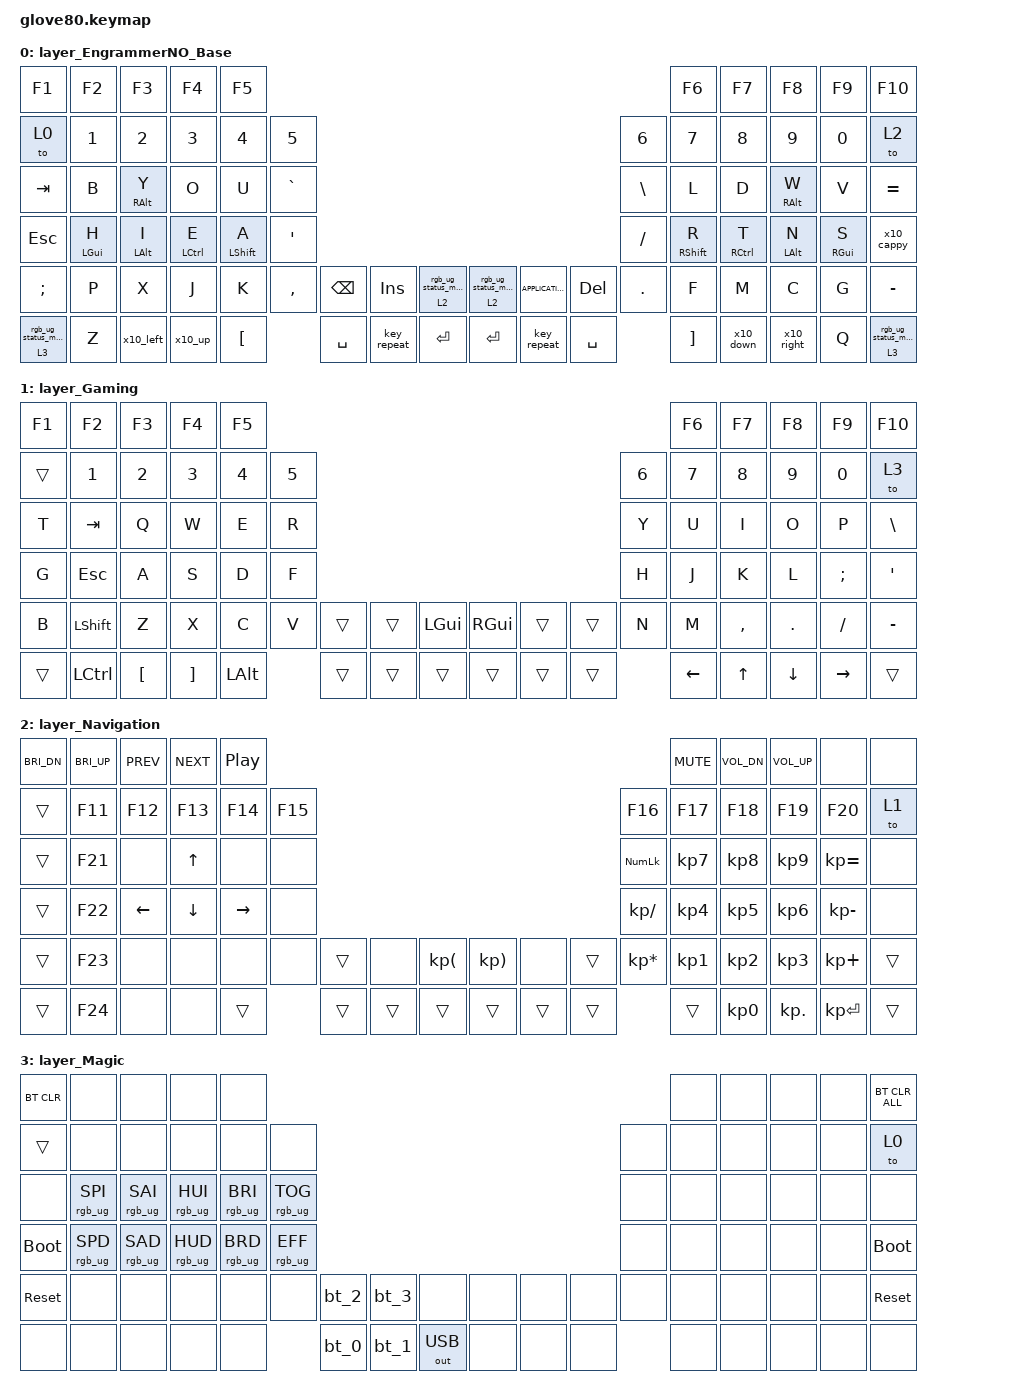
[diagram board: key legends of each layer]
/*
 * Copyright (c) 2020 The ZMK Contributors
 * Copyright (c) 2023 Innaworks Development Limited, trading as MoErgo
 *
 * SPDX-License-Identifier: MIT
 */
/* THIS FILE WAS GENERATED BY GLOVE80 LAYOUT EDITOR
 *
 * This file was generated automatically. You may or may not want to
 * edit it directly.
 */
/* Include all behaviour includes needed */

#include <behaviors.dtsi>
#include <dt-bindings/zmk/bt.h>
#include <dt-bindings/zmk/keys.h>
#include <dt-bindings/zmk/outputs.h>
#include <dt-bindings/zmk/rgb.h>

/* To deal with the situation where there is no Lower layer, to keep &lower happy */

#ifndef LAYER_Lower

#define LAYER_Lower 0

#endif

/* Automatically generated layer name #define */

#define LAYER_EngrammerNO_Base 0
#define LAYER_Gaming 1
#define LAYER_Lower 2
#define LAYER_Navigation 3
#define LAYER_Magic 4

/* Custom Device-tree */

/ {
    /* Glove80 system behavior & macros */

    behaviors {
        // For the "layer" key, it'd nice to be able to use it as either a shift or a toggle.
        // Configure it as a tap dance, so the first tap (or hold) is a &mo and the second tap is a &to

        lower: lower {
            compatible = "zmk,behavior-tap-dance";
            label = "LAYER_TAP_DANCE";
            #binding-cells = <0>;
            tapping-term-ms = <200>;
            bindings = <&mo 2>, <&to 2>;
        };
    };
};

/ {
    macros {
        rgb_ug_status_macro: rgb_ug_status_macro {
            label = "RGB_UG_STATUS";
            compatible = "zmk,behavior-macro";
            #binding-cells = <0>;
            bindings = <&rgb_ug RGB_STATUS>;
        };
    };
};

/ {
    #ifdef BT_DISC_CMD

    behaviors {
        bt_0: bt_0 {
            compatible = "zmk,behavior-tap-dance";
            label = "BT_0";
            #binding-cells = <0>;
            tapping-term-ms = <200>;
            bindings = <&bt_select_0>, <&bt BT_DISC 0>;
        };

        bt_1: bt_1 {
            compatible = "zmk,behavior-tap-dance";
            label = "BT_1";
            #binding-cells = <0>;
            tapping-term-ms = <200>;
            bindings = <&bt_select_1>, <&bt BT_DISC 1>;
        };

        bt_2: bt_2 {
            compatible = "zmk,behavior-tap-dance";
            label = "BT_2";
            #binding-cells = <0>;
            tapping-term-ms = <200>;
            bindings = <&bt_select_2>, <&bt BT_DISC 2>;
        };

        bt_3: bt_3 {
            compatible = "zmk,behavior-tap-dance";
            label = "BT_3";
            #binding-cells = <0>;
            tapping-term-ms = <200>;
            bindings = <&bt_select_3>, <&bt BT_DISC 3>;
        };
    };

    macros {
        bt_select_0: bt_select_0 {
            label = "BT_SELECT_0";
            compatible = "zmk,behavior-macro";
            #binding-cells = <0>;
            bindings = <&out OUT_BLE &bt BT_SEL 0>;
        };

        bt_select_1: bt_select_1 {
            label = "BT_SELECT_1";
            compatible = "zmk,behavior-macro";
            #binding-cells = <0>;
            bindings = <&out OUT_BLE &bt BT_SEL 1>;
        };

        bt_select_2: bt_select_2 {
            label = "BT_SELECT_2";
            compatible = "zmk,behavior-macro";
            #binding-cells = <0>;
            bindings = <&out OUT_BLE &bt BT_SEL 2>;
        };

        bt_select_3: bt_select_3 {
            label = "BT_SELECT_3";
            compatible = "zmk,behavior-macro";
            #binding-cells = <0>;
            bindings = <&out OUT_BLE &bt BT_SEL 3>;
        };
    };

    #else

    macros {
        bt_0: bt_0 {
            label = "BT_0";
            compatible = "zmk,behavior-macro";
            #binding-cells = <0>;
            bindings = <&out OUT_BLE &bt BT_SEL 0>;
        };

        bt_1: bt_1 {
            label = "BT_1";
            compatible = "zmk,behavior-macro";
            #binding-cells = <0>;
            bindings = <&out OUT_BLE &bt BT_SEL 1>;
        };

        bt_2: bt_2 {
            label = "BT_2";
            compatible = "zmk,behavior-macro";
            #binding-cells = <0>;
            bindings = <&out OUT_BLE &bt BT_SEL 2>;
        };

        bt_3: bt_3 {
            label = "BT_3";
            compatible = "zmk,behavior-macro";
            #binding-cells = <0>;
            bindings = <&out OUT_BLE &bt BT_SEL 3>;
        };
    };

    #endif
};

/ {
    behaviors {
        magic: magic {
            compatible = "zmk,behavior-hold-tap";
            label = "MAGIC_HOLD_TAP";
            #binding-cells = <2>;
            flavor = "tap-preferred";
            tapping-term-ms = <200>;
            bindings = <&mo>, <&rgb_ug_status_macro>;
        };
    };
};

/* #define for key positions */

#define POS_LH_T1 52
#define POS_LH_T2 53
#define POS_LH_T3 54
#define POS_LH_T4 69
#define POS_LH_T5 70
#define POS_LH_T6 71
#define POS_LH_C1R2 15
#define POS_LH_C1R3 27
#define POS_LH_C1R4 39
#define POS_LH_C1R5 51
#define POS_LH_C2R1 4
#define POS_LH_C2R2 14
#define POS_LH_C2R3 26
#define POS_LH_C2R4 38
#define POS_LH_C2R5 50
#define POS_LH_C2R6 68
#define POS_LH_C3R1 3
#define POS_LH_C3R2 13
#define POS_LH_C3R3 25
#define POS_LH_C3R4 37
#define POS_LH_C3R5 49
#define POS_LH_C3R6 67
#define POS_LH_C4R1 2
#define POS_LH_C4R2 12
#define POS_LH_C4R3 24
#define POS_LH_C4R4 36
#define POS_LH_C4R5 48
#define POS_LH_C4R6 66
#define POS_LH_C5R1 1
#define POS_LH_C5R2 11
#define POS_LH_C5R3 23
#define POS_LH_C5R4 35
#define POS_LH_C5R5 47
#define POS_LH_C5R6 65
#define POS_LH_C6R1 0
#define POS_LH_C6R2 10
#define POS_LH_C6R3 22
#define POS_LH_C6R4 34
#define POS_LH_C6R5 46
#define POS_LH_C6R6 64
#define POS_RH_T1 57
#define POS_RH_T2 56
#define POS_RH_T3 55
#define POS_RH_T4 74
#define POS_RH_T5 73
#define POS_RH_T6 72
#define POS_RH_C1R2 16
#define POS_RH_C1R3 28
#define POS_RH_C1R4 40
#define POS_RH_C1R5 58
#define POS_RH_C2R1 5
#define POS_RH_C2R2 17
#define POS_RH_C2R3 29
#define POS_RH_C2R4 41
#define POS_RH_C2R5 59
#define POS_RH_C2R6 75
#define POS_RH_C3R1 6
#define POS_RH_C3R2 18
#define POS_RH_C3R3 30
#define POS_RH_C3R4 42
#define POS_RH_C3R5 60
#define POS_RH_C3R6 76
#define POS_RH_C4R1 7
#define POS_RH_C4R2 19
#define POS_RH_C4R3 31
#define POS_RH_C4R4 43
#define POS_RH_C4R5 61
#define POS_RH_C4R6 77
#define POS_RH_C5R1 8
#define POS_RH_C5R2 20
#define POS_RH_C5R3 32
#define POS_RH_C5R4 44
#define POS_RH_C5R5 62
#define POS_RH_C5R6 78
#define POS_RH_C6R1 9
#define POS_RH_C6R2 21
#define POS_RH_C6R3 33
#define POS_RH_C6R4 45
#define POS_RH_C6R5 63
#define POS_RH_C6R6 79

/* Custom Defined Behaviors */

/ {
    //////////////////////////////////////////////////////////////////////
    // NOTE: Use the `#define` settings below to customize this keymap! //
    //////////////////////////////////////////////////////////////////////
    // IMPORTANT: You need to set Firmware Version to "pr19.zephyr-3-2" //
    // under Settings > Advanced Settings in the Glove80 Layout Editor  //
    // if you want to use the `hold-trigger-on-release` feature in ZMK. //
    //////////////////////////////////////////////////////////////////////
    // CAUTION: PR19 firmware is not production quality; it has issues: //
    // https://discord.com/channels/877392805654306816/1137025078979203142
    //////////////////////////////////////////////////////////////////////
    //
    // Sunaku's Keymap v23 featuring Engrammer layout and legendary Miryoku
    // - https://github.com/sunaku/glove80-keymaps
    // - https://sunaku.github.io/moergo-glove80-keyboard.html
    // - https://sunaku.github.io/engrammer-keyboard-layout.html
    // - https://discord.com/channels/877392805654306816/1111469812850380831
    //
    //////////////////////////////////////////////////////////////////////

    behaviors {
        // Miryoku layers and home row mods (ported from my QMK endgame)
        // - https://sunaku.github.io/home-row-mods.html#porting-to-zmk
        // - https://github.com/urob/zmk-config#timeless-homerow-mods
        //----------------------------------------------------------------
        //               homey fingers (pinky, ring, middle)
        //----------------------------------------------------------------
        //
        // HOMEY_HOLDING_TYPE defines the flavor of ZMK hold-tap behavior to use
        // for the pinky, ring, and middle fingers (which are assigned to Super,
        // Alt, and Ctrl respectively in the Miryoku system) on home row keys.
        //

        #ifndef HOMEY_HOLDING_TYPE
        #define HOMEY_HOLDING_TYPE "tap-preferred"
        #endif

        // HOMEY_HOLDING_TIME defines how long you need to hold (milliseconds)
        // home row mod keys in order to send their modifiers to the computer
        // (i.e. "register" them) for mod-click mouse usage (e.g. Ctrl-Click).
        //
        #ifndef HOMEY_HOLDING_TIME
        #define HOMEY_HOLDING_TIME 270 // TAPPING_TERM + ALLOW_CROSSOVER_AFTER
        #endif

        // HOMEY_STREAK_DECAY defines how long you need to wait (milliseconds)
        // after typing before you can use home row mods again.  It prevents
        // unintended activation of home row mods when you're actively typing.
        //
        #ifndef HOMEY_STREAK_DECAY
        #define HOMEY_STREAK_DECAY 170 // global-quick-tap-ms
        #endif

        // HOMEY_REPEAT_DECAY defines how much time you have left (milliseconds)
        // after tapping a key to hold it again in order to make it auto-repeat.
        //
        #ifndef HOMEY_REPEAT_DECAY
        #define HOMEY_REPEAT_DECAY 300 // "tap then hold" for key auto-repeat
        #endif

        //----------------------------------------------------------------
        //                          index fingers
        //----------------------------------------------------------------
        //
        // SHIFT_HOLDING_TYPE defines the flavor of ZMK hold-tap behavior to use
        // for index fingers (which Miryoku assigns to Shift) on home row keys.
        //
        // NOTE: The "tap-preferred" flavor of ZMK hold-tap for index finger keys
        // allows faster activation of the Shift modifier (without having to wait
        // for the modified key to be released as the "balanced" flavor requires).
        // Typing streaks and the `hold-trigger-on-release` setting are disabled
        // for the index fingers so as not to hinder their speed and dexterity.
        //
        #ifndef SHIFT_HOLDING_TYPE
        #define SHIFT_HOLDING_TYPE "tap-preferred"
        #endif

        // SHIFT_HOLDING_TIME defines how long you need to hold (milliseconds)
        // index finger keys in order to send their modifiers to the computer
        // (i.e. "register" them) for mod-click mouse usage (e.g. Shift-Click).
        //
        // CAUTION: You'll need to perform inward rolls from pinky->ring->middle
        // fingers toward the index fingers when activating multiple modifiers
        // because `hold-trigger-on-release` is disabled for the index fingers.
        // Otherwise, you may be surprised that the index fingers' modifier is
        // sent immediately without the rest of your multi-mod chord when you
        // perform outward rolls from your index fingers toward your pinkies.
        //
        #ifndef SHIFT_HOLDING_TIME
        #define SHIFT_HOLDING_TIME 170
        #endif

        // SHIFT_STREAK_DECAY defines how long you need to wait (milliseconds)
        // after typing before you can use home row mods again.  It prevents
        // unintended activation of home row mods when you're actively typing.
        //
        #ifndef SHIFT_STREAK_DECAY
        #define SHIFT_STREAK_DECAY 70 // global-quick-tap-ms
        #endif

        // SHIFT_REPEAT_DECAY defines how much time you have left (milliseconds)
        // after tapping a key to hold it again in order to make it auto-repeat.
        //
        #ifndef SHIFT_REPEAT_DECAY
        #define SHIFT_REPEAT_DECAY 300 // "tap then hold" for key auto-repeat
        #endif

        //----------------------------------------------------------------
        //                              thumbs
        //----------------------------------------------------------------
        //
        // THUMB_HOLDING_TYPE defines the flavor of ZMK hold-tap behavior to use
        // for the thumbs (which are assigned to 6 layers in the Miryoku system).
        //
        // NOTE: The "balanced" flavor of ZMK hold-tap provides instant modifier
        // activation for the symbol layer (if the tapped symbol key is released
        // while the thumb layer key is still held down) for quicker programming.
        //
        #ifndef THUMB_HOLDING_TYPE
        #define THUMB_HOLDING_TYPE "balanced"
        #endif

        // THUMB_HOLDING_TIME defines how long you need to hold (milliseconds)
        // a thumb key to activate a layer.  Shorter holds are treated as taps.
        //
        #ifndef THUMB_HOLDING_TIME
        #define THUMB_HOLDING_TIME 200
        #endif


        // THUMB_REPEAT_DECAY defines how much time you have left (milliseconds)
        // after tapping a key to hold it again in order to make it auto-repeat.
        //
        #ifndef THUMB_REPEAT_DECAY
        #define THUMB_REPEAT_DECAY 300 // "tap then hold" for key auto-repeat
        #endif

        // SPACE_HOLDING_TIME defines how long you need to hold (milliseconds)
        // the space thumb key to activate.  Shorter holds are treated as taps.
        //
        #ifndef SPACE_HOLDING_TIME
        #define SPACE_HOLDING_TIME 170
        #endif

        // SPACE_REPEAT_DECAY defines how much time you have left (milliseconds)
        // after tapping a key to hold it again in order to make it auto-repeat.
        //
        #ifndef SPACE_REPEAT_DECAY
        #define SPACE_REPEAT_DECAY 200 // "tap then hold" for key auto-repeat
        #endif

        // Glove80 key positions index for positional hold-tap
        // - https://discord.com/channels/877392805654306816/937645688244826154/1066713913351221248
        // - https://media.discordapp.net/attachments/937645688244826154/1066713913133121556/image.png
        //
        // |------------------------|------------------------|
        // | LEFT_HAND_KEYS         |        RIGHT_HAND_KEYS |
        // |                        |                        |
        // |  0  1  2  3  4         |          5  6  7  8  9 |
        // | 10 11 12 13 14 15      |      16 17 18 19 20 21 |
        // | 22 23 24 25 26 27      |      28 29 30 31 32 33 |
        // | 34 35 36 37 38 39      |      40 41 42 43 44 45 |
        // | 46 47 48 49 50 51      |      58 59 60 61 62 63 |
        // | 64 65 66 67 68         |         75 76 77 78 79 |
        // |                69 52   |   57 74                |
        // |                 70 53  |  56 73                 |
        // |                  71 54 | 55 72                  |
        // |------------------------|------------------------|
        //
        #ifndef LEFT_HAND_KEYS
        #define LEFT_HAND_KEYS      \
              0  1  2  3  4         \
             10 11 12 13 14 15      \
             22 23 24 25 26 27      \
             34 35 36 37 38 39      \
             46 47 48 49 50 51      \
             64 65 66 67 68
        #endif
        #ifndef RIGHT_HAND_KEYS
        #define RIGHT_HAND_KEYS     \
                                               5  6  7  8  9 \
                                           16 17 18 19 20 21 \
                                           28 29 30 31 32 33 \
                                           40 41 42 43 44 45 \
                                           58 59 60 61 62 63 \
                                              75 76 77 78 79
        #endif
        #ifndef THUMB_KEYS
        #define THUMB_KEYS          \
                            69 52       57 74                \
                             70 53     56 73                 \
                              71 54   55 72
        #endif

        //----------------------------------------------------------------
        //                              thumbs
        //----------------------------------------------------------------
        // Home row mod-tap keys for all except index fingers
        //

        homey_left: miryoku_home_row_mods_left_hand {
            compatible = "zmk,behavior-hold-tap";
            label = "HOME_ROW_MODS_LEFT_HAND";
            flavor =
            HOMEY_HOLDING_TYPE;
            hold-trigger-key-positions = <RIGHT_HAND_KEYS THUMB_KEYS>;
            hold-trigger-on-release; // wait for other home row mods
            tapping-term-ms = <HOMEY_HOLDING_TIME>;
            quick-tap-ms = <HOMEY_REPEAT_DECAY>;
            require-prior-idle-ms = <HOMEY_STREAK_DECAY>;
            #binding-cells = <2>;
            bindings = <&kp>, <&kp>;
        };

        homey_right: miryoku_home_row_mods_right_hand {
            compatible = "zmk,behavior-hold-tap";
            label = "HOME_ROW_MODS_RIGHT_HAND";
            flavor =
            HOMEY_HOLDING_TYPE;
            hold-trigger-key-positions = <LEFT_HAND_KEYS THUMB_KEYS>;
            hold-trigger-on-release; // wait for other home row mods
            tapping-term-ms = <HOMEY_HOLDING_TIME>;
            quick-tap-ms = <HOMEY_REPEAT_DECAY>;
            require-prior-idle-ms = <HOMEY_STREAK_DECAY>;
            #binding-cells = <2>;
            bindings = <&kp>, <&kp>;
        };

        // Special home row mod-tap keys for the index fingers
        //

        shift_left: miryoku_home_row_mods_left_shift_shift {
            compatible = "zmk,behavior-hold-tap";
            label = "HOME_ROW_MODS_LEFT_SHIFT_SHIFT";
            flavor =
            SHIFT_HOLDING_TYPE;
            hold-trigger-key-positions = <RIGHT_HAND_KEYS THUMB_KEYS>;

            //hold-trigger-on-release; // don't wait for other mods

            tapping-term-ms = <SHIFT_HOLDING_TIME>;
            quick-tap-ms = <SHIFT_REPEAT_DECAY>;
            require-prior-idle-ms = <SHIFT_STREAK_DECAY>;
            #binding-cells = <2>;
            bindings = <&kp>, <&kp>;
        };

        shift_right: miryoku_home_row_mods_right_shift_shift {
            compatible = "zmk,behavior-hold-tap";
            label = "HOME_ROW_MODS_RIGHT_SHIFT_SHIFT";
            flavor =
            SHIFT_HOLDING_TYPE;
            hold-trigger-key-positions = <LEFT_HAND_KEYS THUMB_KEYS>;

            //hold-trigger-on-release; // don't wait for other mods

            tapping-term-ms = <SHIFT_HOLDING_TIME>;
            quick-tap-ms = <SHIFT_REPEAT_DECAY>;
            require-prior-idle-ms = <SHIFT_STREAK_DECAY>;
            #binding-cells = <2>;
            bindings = <&kp>, <&kp>;
        };

        // Thumb cluster hold-tap keys for Miryoku layers
        //

        thumb: thumb_layer_switch_on_hold {
            compatible = "zmk,behavior-hold-tap";
            label = "MIRYOKU_THUMB_LAYER";
            flavor =
            THUMB_HOLDING_TYPE;
            tapping-term-ms = <THUMB_HOLDING_TIME>;
            quick-tap-ms = <THUMB_REPEAT_DECAY>; // enable repeat
            //global-quick-tap; // no typing streak
            //retro-tap; // don't allow slow (hold-like) taps

            #binding-cells = <2>;
            bindings = <&mo>, <&kp>;
        };

        thumb_hold: thumb_layer_switch_on_hold_but_allow_hold_for_repetition {
            compatible = "zmk,behavior-hold-tap";
            label = "MIRYOKU_THUMB_LAYER_SPACEBAR";
            flavor =
            THUMB_HOLDING_TYPE;
            tapping-term-ms = <SPACE_HOLDING_TIME>;
            quick-tap-ms = <SPACE_REPEAT_DECAY>; // enable repeat
            //global-quick-tap; // no typing streak

            retro-tap; // allow slow (hold-like) taps
            #binding-cells = <2>;
            bindings = <&mo>, <&kp>;
        };

        //////////////////////////////////////////////////////////////////////////
        //
        // Custom shifted pairs
        //
        //////////////////////////////////////////////////////////////////////////
        // Shift + NUMBER_6 = AMPERSAND
        // Shift + NUMBER_7 = FORWARD_SLASH
        // Shift + NUMBER_9 = CARET
        // Shift + NUMBER_0 = EQUAL
        // CapsWord - ported from Pascal Getreuer's extension for QMK
        // - https://zmk.dev/docs/behaviors/caps-word
        // - https://getreuer.info/posts/keyboards/caps-word/index.html
        //

        behavior_caps_word {
            continue-list = <
                UNDERSCORE MINUS
                BACKSPACE DELETE
                N1 N2 N3 N4 N5 N6 N7 N8 N9 N0
            >;
        };

        // Shift + CapsWord = CapsLock

        x10_cappy: capsword_and_capslock {
            compatible = "zmk,behavior-mod-morph";
            label = "x10_CAPSWORD_AND_CAPSLOCK";
            #binding-cells = <0>;
            bindings = <&caps_word>, <&kp CAPSLOCK>;

            mods = <(MOD_LSFT|MOD_RSFT)>;
        };

        x10_up: x10_up {
            compatible = "zmk,behavior-mod-morph";
            label = "X10_UP";
            bindings = <&kp UP_ARROW>, <&kp PAGE_UP>;

            #binding-cells = <0>;
            mods = <(MOD_RALT)>;
        };

        x10_down: x10_down {
            compatible = "zmk,behavior-mod-morph";
            label = "X10_DOWN";
            bindings = <&kp DOWN_ARROW>, <&kp PAGE_DOWN>;

            #binding-cells = <0>;
            mods = <(MOD_RALT)>;
        };

        x10_right: x10_right {
            compatible = "zmk,behavior-mod-morph";
            label = "X10_RIGHT";
            bindings = <&kp RIGHT_ARROW>, <&kp END>;

            #binding-cells = <0>;
            mods = <(MOD_RALT)>;
        };

        x10_left: x10_left {
            compatible = "zmk,behavior-mod-morph";
            label = "X10_LEFT";
            bindings = <&kp LEFT_ARROW>, <&kp HOME>;

            #binding-cells = <0>;
            mods = <(MOD_RALT)>;
        };

        x10_prscrn_sysreq: x10_prscrn_sysreq {
            compatible = "zmk,behavior-mod-morph";
            label = "X10_PRSCRN_SYSREQ";
            #binding-cells = <0>;
            bindings = <&kp PRINTSCREEN>, <&kp SYSREQ>;

            mods = <(MOD_LSFT|MOD_RSFT)>;
        };
    };

    macros {
    };
};

/* Automatically generated keymap */

/ {
    keymap {
        compatible = "zmk,keymap";

        layer_EngrammerNO_Base {
            bindings = <
&kp F1         &kp F2              &kp F3              &kp F4               &kp F5                                                                                                                               &kp F6                 &kp F7                        &kp F8               &kp F9               &kp F10
&to 0          &kp N1              &kp N2              &kp N3               &kp N4                &kp N5                                                                                          &kp NUMBER_6   &kp NUMBER_7           &kp N8                        &kp NUMBER_9         &kp NUMBER_0         &to 2
&kp TAB        &kp B               &homey_left RALT Y  &kp O                &kp U                 &kp GRAVE                                                                                       &kp BACKSLASH  &kp L                  &kp D                         &homey_right RALT W  &kp V                &kp EQUAL
&kp ESCAPE     &homey_left LGUI H  &homey_left LALT I  &homey_left LCTRL E  &shift_left LSHIFT A  &kp SINGLE_QUOTE                                                                                &kp SLASH      &shift_right RSHIFT R  &homey_right RIGHT_CONTROL T  &homey_right LALT N  &homey_right RGUI S  &x10_cappy
&kp SEMICOLON  &kp P               &kp X               &kp J                &kp K                 &kp COMMA         &kp BSPC   &kp INSERT   &magic 2 0  &magic 2 0  &kp K_APPLICATION  &kp DEL    &kp DOT        &kp F                  &kp M                         &kp C                &kp G                &kp MINUS
&magic 3 0     &kp Z               &x10_left           &x10_up              &kp LBKT                                &kp SPACE  &key_repeat  &kp ENTER   &kp ENTER   &key_repeat        &kp SPACE                 &kp RBKT               &x10_down                     &x10_right           &kp Q                &magic 3 0
            >;
        };

        layer_Gaming {
            bindings = <
&kp F1  &kp F2          &kp F3            &kp F4             &kp F5                                                                                     &kp F6          &kp F7        &kp F8          &kp F9     &kp F10
&trans  &kp N1          &kp N2            &kp N3             &kp N4        &kp N5                                                               &kp N6  &kp N7          &kp N8        &kp N9          &kp N0     &to 3
&kp T   &kp TAB         &kp Q             &kp W              &kp E         &kp R                                                                &kp Y   &kp U           &kp I         &kp O           &kp P      &kp BSLH
&kp G   &kp ESCAPE      &kp A             &kp S              &kp D         &kp F                                                                &kp H   &kp J           &kp K         &kp L           &kp SEMI   &kp APOS
&kp B   &kp LEFT_SHIFT  &kp Z             &kp X              &kp C         &kp V   &trans  &trans  &kp LEFT_GUI  &kp RIGHT_GUI  &trans  &trans  &kp N   &kp M           &kp COMMA     &kp DOT         &kp FSLH   &kp MINUS
&trans  &kp LCTRL       &kp LEFT_BRACKET  &kp RIGHT_BRACKET  &kp LEFT_ALT          &trans  &trans  &trans        &trans         &trans  &trans          &kp LEFT_ARROW  &kp UP_ARROW  &kp DOWN_ARROW  &kp RIGHT  &trans
            >;
        };

        layer_Navigation {
            bindings = <
&kp C_BRI_DN  &kp C_BRI_UP  &kp C_PREV      &kp C_NEXT      &kp C_PP                                                                                                                      &kp C_MUTE  &kp C_VOL_DN     &kp C_VOL_UP  &none         &none
&trans        &kp F11       &kp F12         &kp F13         &kp F14          &kp F15                                                                                     &kp F16          &kp F17     &kp F18          &kp F19       &kp F20       &to 1
&trans        &kp F21       &none           &kp UP_ARROW    &none            &none                                                                                       &kp KP_NUM       &kp KP_N7   &kp KP_N8        &kp KP_N9     &kp KP_EQUAL  &none
&trans        &kp F22       &kp LEFT_ARROW  &kp DOWN_ARROW  &kp RIGHT_ARROW  &none                                                                                       &kp KP_DIVIDE    &kp KP_N4   &kp KP_N5        &kp KP_N6     &kp KP_MINUS  &none
&trans        &kp F23       &none           &none           &none            &none    &trans  &none   &kp KP_LEFT_PARENTHESIS  &kp KP_RIGHT_PARENTHESIS  &none   &trans  &kp KP_MULTIPLY  &kp KP_N1   &kp KP_N2        &kp KP_N3     &kp KP_PLUS   &trans
&trans        &kp F24       &none           &none           &trans                    &trans  &trans  &trans                   &trans                    &trans  &trans                   &trans      &kp KP_NUMBER_0  &kp KP_DOT    &kp KP_ENTER  &trans
            >;
        };

        layer_Magic {
            bindings = <
&bt BT_CLR   &none            &none            &none            &none                                                                                     &none  &none  &none  &none  &bt BT_CLR_ALL
&trans       &none            &none            &none            &none            &none                                                             &none  &none  &none  &none  &none  &to 0
&none        &rgb_ug RGB_SPI  &rgb_ug RGB_SAI  &rgb_ug RGB_HUI  &rgb_ug RGB_BRI  &rgb_ug RGB_TOG                                                   &none  &none  &none  &none  &none  &none
&bootloader  &rgb_ug RGB_SPD  &rgb_ug RGB_SAD  &rgb_ug RGB_HUD  &rgb_ug RGB_BRD  &rgb_ug RGB_EFF                                                   &none  &none  &none  &none  &none  &bootloader
&sys_reset   &none            &none            &none            &none            &none            &bt_2  &bt_3  &none         &none  &none  &none  &none  &none  &none  &none  &none  &sys_reset
&none        &none            &none            &none            &none                             &bt_0  &bt_1  &out OUT_USB  &none  &none  &none         &none  &none  &none  &none  &none
            >;
        };
    };
};
